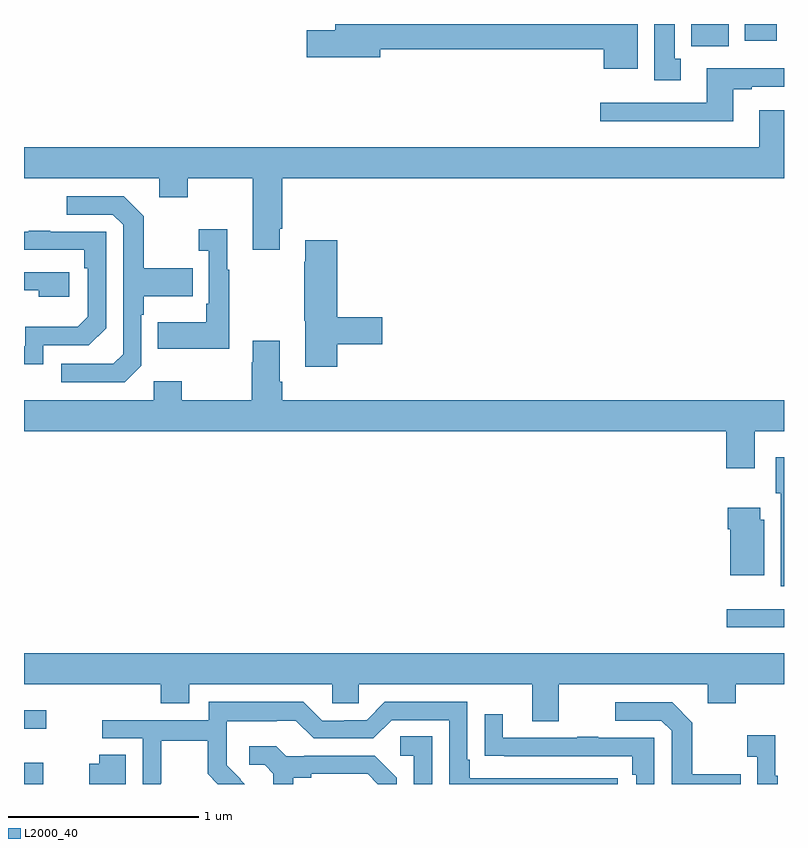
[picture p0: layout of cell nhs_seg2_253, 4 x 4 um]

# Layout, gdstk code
import gdstk
lib = gdstk.Library(unit=1e-6, precision=1e-09)
def R(c, l, rs):  # rectangles x0, y0, x1, y1
    for r in rs: c.add(gdstk.rectangle(r[:2], r[2:], *l))
def P(c, l, *ps):  # polygons
    for p in ps: c.add(gdstk.Polygon(p, *l))
L2000_40 = (2000, 40)

nhs_seg2_253 = lib.new_cell('nhs_seg2_253')
R(nhs_seg2_253, L2000_40, [(123,625.8,123.1,625.912), (123,626.091,123.118,626.188), (126.699,626.624,127,626.721), (126.512,629.684,126.709,629.8), (126.794,629.712,126.961,629.8)])
P(nhs_seg2_253, L2000_40, [(126.457,629.618),(126.424,629.618),(126.424,629.8),(126.317,629.8),(126.317,629.505),(126.457,629.505)],
  [(126.229,629.8),(124.637,629.8),(124.637,629.768),(124.488,629.768),(124.488,629.626),(124.876,629.626),(124.876,629.668),(126.05,629.668),(126.05,629.564),(126.229,629.564)],
  [(126.733,629.457),(126.829,629.457),(126.829,629.469),(127,629.469),(127,629.566),(126.593,629.566),(126.593,629.385),(126.033,629.385),(126.033,629.288),(126.733,629.288)],
  [(124.345,628.723),(124.358,628.723),(124.358,628.988),(127,628.988),(127,629.347),(126.869,629.347),(126.869,629.152),(123,629.152),(123,628.988),(123.713,628.988),(123.713,628.889),(123.861,628.889),(123.861,628.988),(124.205,628.988),(124.205,628.611),(124.345,628.611)],
  [(123.618,628.002),(123.618,628.271),(123.631,628.271),(123.631,628.367),(123.887,628.367),(123.887,628.515),(123.631,628.515),(123.631,628.787),(123.525,628.893),(123.225,628.893),(123.225,628.797),(123.468,628.797),(123.522,628.743),(123.522,628.062),(123.471,628.011),(123.195,628.011),(123.195,627.915),(123.531,627.915)],
  [(124.081,628.507),(124.069,628.507),(124.069,628.72),(123.921,628.72),(123.921,628.607),(123.972,628.607),(123.972,628.327),(123.96,628.327),(123.96,628.231),(123.703,628.231),(123.703,628.091),(124.081,628.091)],
  [(123.102,628.11),(123.342,628.11),(123.432,628.2),(123.432,628.707),(123.137,628.707),(123.137,628.712),(123.025,628.712),(123.025,628.707),(123,628.707),(123,628.611),(123.316,628.611),(123.316,628.514),(123.336,628.514),(123.336,628.26),(123.283,628.207),(123.006,628.207),(123.006,628.104),(123,628.104),(123,628.008),(123.102,628.008)],
  [(124.649,628.114),(124.885,628.114),(124.885,628.256),(124.649,628.256),(124.649,628.663),(124.481,628.663),(124.481,628.55),(124.474,628.55),(124.474,628.239),(124.481,628.239),(124.481,627.996),(124.649,627.996)],
  [(123.238,628.494),(123,628.494),(123,628.398),(123.077,628.398),(123.077,628.364),(123.238,628.364)],
  [(126.847,627.656),(127,627.656),(127,627.82),(124.358,627.82),(124.358,627.916),(124.345,627.916),(124.345,628.132),(124.205,628.132),(124.205,628.019),(124.198,628.019),(124.198,627.82),(123.831,627.82),(123.831,627.919),(123.684,627.919),(123.684,627.82),(123,627.82),(123,627.656),(126.695,627.656),(126.695,627.462),(126.847,627.462)],
  [(127,627.52),(126.956,627.52),(126.956,627.33),(126.983,627.33),(126.983,626.841),(127,626.841)],
  [(126.895,627.192),(126.874,627.192),(126.874,627.253),(126.704,627.253),(126.704,627.14),(126.716,627.14),(126.716,626.9),(126.895,626.9)],
  [(125.815,626.324),(126.599,626.324),(126.599,626.225),(126.747,626.225),(126.747,626.324),(127,626.324),(127,626.488),(123,626.488),(123,626.324),(123.719,626.324),(123.719,626.225),(123.871,626.225),(123.871,626.324),(124.623,626.324),(124.623,626.226),(124.761,626.226),(124.761,626.324),(125.675,626.324),(125.675,626.13),(125.815,626.13)],
  [(123.72,625.804),(123.723,625.804),(123.723,626.028),(123.967,626.028),(123.967,625.853),(124.02,625.8),(124.162,625.8),(124.139,625.823),(124.14,625.824),(124.066,625.898),(124.066,625.995),(124.068,625.995),(124.068,626.129),(124.331,626.129),(124.331,626.133),(124.431,626.133),(124.524,626.04),(124.839,626.04),(124.935,626.136),(125.238,626.136),(125.238,625.8),(126.124,625.8),(126.124,625.83),(125.347,625.83),(125.347,625.927),(125.334,625.927),(125.334,626.232),(124.899,626.232),(124.803,626.136),(124.685,626.136),(124.685,626.133),(124.569,626.133),(124.469,626.233),(123.972,626.233),(123.972,626.136),(123.411,626.136),(123.411,626.04),(123.624,626.04),(123.624,625.8),(123.72,625.8)],
  [(126.773,625.851),(126.517,625.851),(126.517,626.123),(126.411,626.229),(126.111,626.229),(126.111,626.133),(126.354,626.133),(126.408,626.079),(126.408,625.8),(126.773,625.8)],
  [(126.318,626.043),(126.023,626.043),(126.023,626.048),(125.911,626.048),(125.911,626.043),(125.521,626.043),(125.521,626.167),(125.425,626.167),(125.425,625.948),(125.527,625.948),(125.527,625.947),(126.202,625.947),(126.202,625.85),(126.222,625.85),(126.222,625.8),(126.318,625.8)],
  [(126.967,625.843),(126.955,625.843),(126.955,626.056),(126.807,626.056),(126.807,625.943),(126.858,625.943),(126.858,625.8),(126.967,625.8)],
  [(125.148,626.051),(124.98,626.051),(124.98,625.95),(125.052,625.95),(125.052,625.8),(125.148,625.8)],
  [(124.417,625.832),(124.513,625.832),(124.513,625.854),(124.808,625.854),(124.862,625.8),(124.962,625.8),(124.962,625.834),(124.846,625.95),(124.474,625.95),(124.474,625.947),(124.38,625.947),(124.328,625.999),(124.185,625.999),(124.185,625.902),(124.266,625.902),(124.313,625.855),(124.313,625.8),(124.417,625.8)],
  [(123.535,625.955),(123.397,625.955),(123.397,625.906),(123.344,625.906),(123.344,625.8),(123.535,625.8)])

lib.write_gds('nhs_seg2_253.gds')
